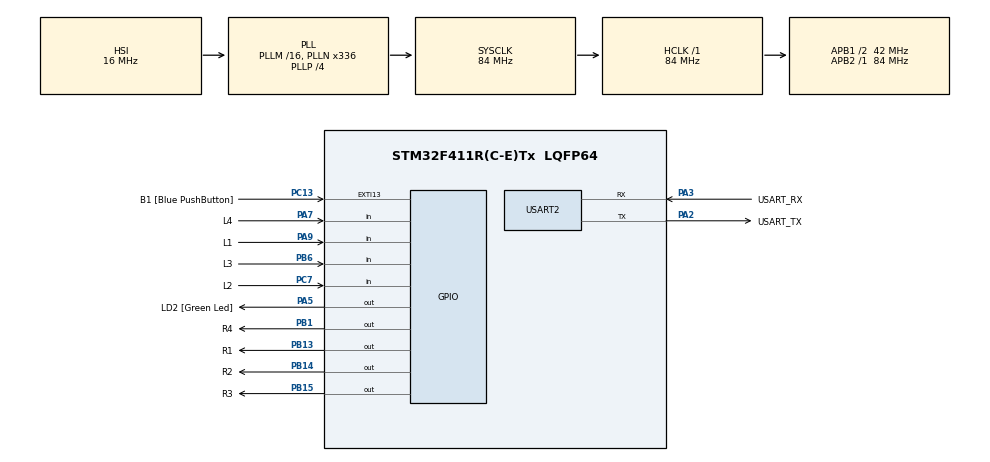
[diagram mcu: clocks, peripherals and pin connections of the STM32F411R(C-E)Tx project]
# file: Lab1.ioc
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Mcu.Family=STM32F4
Mcu.Name=STM32F411R(C-E)Tx
Mcu.Package=LQFP64
NVIC.PriorityGroup=NVIC_PRIORITYGROUP_0
PA13.GPIO_Label=TMS
PA13.Mode=Serial_Wire
PA13.Signal=SYS_JTMS-SWDIO
PA14.GPIO_Label=TCK
PA14.Mode=Serial_Wire
PA14.Signal=SYS_JTCK-SWCLK
PA2.GPIO_Label=USART_TX
PA2.Mode=Asynchronous
PA2.Signal=USART2_TX
PA3.GPIO_Label=USART_RX
PA3.Mode=Asynchronous
PA3.Signal=USART2_RX
PA5.GPIO_Label=LD2 [Green Led]
PA5.Signal=GPIO_Output
PA7.GPIO_Label=L4
PA7.GPIO_PuPd=GPIO_PULLUP
PA7.Signal=GPIO_Input
PA9.GPIO_Label=L1
PA9.GPIO_PuPd=GPIO_PULLUP
PA9.Signal=GPIO_Input
PB1.GPIO_Label=R4
PB1.GPIO_ModeDefaultOutputPP=GPIO_MODE_OUTPUT_OD
PB1.GPIO_PuPd=GPIO_NOPULL
PB1.Signal=GPIO_Output
PB13.GPIO_Label=R1
PB13.GPIO_ModeDefaultOutputPP=GPIO_MODE_OUTPUT_OD
PB13.GPIO_PuPd=GPIO_NOPULL
PB13.Signal=GPIO_Output
PB14.GPIO_Label=R2
PB14.GPIO_ModeDefaultOutputPP=GPIO_MODE_OUTPUT_OD
PB14.GPIO_PuPd=GPIO_NOPULL
PB14.Signal=GPIO_Output
PB15.GPIO_Label=R3
PB15.GPIO_ModeDefaultOutputPP=GPIO_MODE_OUTPUT_OD
PB15.GPIO_PuPd=GPIO_NOPULL
PB15.Signal=GPIO_Output
PB3.GPIO_Label=SWO
PB3.Signal=SYS_JTDO-SWO
PB6.GPIO_Label=L3
PB6.GPIO_PuPd=GPIO_PULLUP
PB6.Signal=GPIO_Input
PC13-ANTI_TAMP.GPIO_Label=B1 [Blue PushButton]
PC13-ANTI_TAMP.GPIO_ModeDefaultEXTI=GPIO_MODE_IT_FALLING
PC13-ANTI_TAMP.Signal=GPXTI13
PC14-OSC32_IN.Mode=LSE-External-Oscillator
PC14-OSC32_IN.Signal=RCC_OSC32_IN
PC15-OSC32_OUT.Mode=LSE-External-Oscillator
PC15-OSC32_OUT.Signal=RCC_OSC32_OUT
PC7.GPIO_Label=L2
PC7.GPIO_PuPd=GPIO_PULLUP
PC7.Signal=GPIO_Input
PH0\ -\ OSC_IN.Mode=HSE-External-Clock-Source
PH0\ -\ OSC_IN.Signal=RCC_OSC_IN
PH1\ -\ OSC_OUT.Mode=HSE-External-Clock-Source
PH1\ -\ OSC_OUT.Signal=RCC_OSC_OUT
ProjectManager.HeapSize=0x200
ProjectManager.StackSize=0x400
ProjectManager.TargetToolchain=STM32CubeIDE
RCC.48MHZClocksFreq_Value=84000000
RCC.AHBFreq_Value=84000000
RCC.APB1CLKDivider=RCC_HCLK_DIV2
RCC.APB1Freq_Value=42000000
RCC.APB1TimFreq_Value=84000000
RCC.APB2Freq_Value=84000000
RCC.APB2TimFreq_Value=84000000
RCC.CortexFreq_Value=84000000
RCC.FLatency-AdvancedSettings=FLASH_LATENCY_2
RCC.HCLKFreq_Value=84000000
RCC.HSE_VALUE=8000000
RCC.HSI_VALUE=16000000
RCC.PLLN=336
RCC.PLLP=RCC_PLLP_DIV4
RCC.SYSCLKFreq_VALUE=84000000
RCC.SYSCLKSource=RCC_SYSCLKSOURCE_PLLCLK
RCC.VCOOutputFreq_Value=336000000
USART2.VirtualMode=VM_ASYNC
board=NUCLEO-F411RE

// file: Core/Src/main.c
/* USER CODE BEGIN Header */
/**
  ******************************************************************************
  * @file           : main.c
  * @brief          : Main program body
  ******************************************************************************
  * @attention
  *
  * Copyright (c) 2023 STMicroelectronics.
  * All rights reserved.
  *
  * This software is licensed under terms that can be found in the LICENSE file
  * in the root directory of this software component.
  * If no LICENSE file comes with this software, it is provided AS-IS.
  *
  ******************************************************************************
  */
/* USER CODE END Header */
#include "main.h"

UART_HandleTypeDef huart2;

/* USER CODE BEGIN PV */
//button matrix structure
struct _PortPin{
	GPIO_TypeDef* PORT;
	uint16_t PIN;
};
struct _GPIOState{
	GPIO_PinState CurrState;
	GPIO_PinState LastState;
};
struct _PadElement{
	uint16_t PadValue;
	uint8_t PadLabel;
};
struct _ID{
	uint8_t IDNum;
};

// declare variable
struct _PortPin R[4] = {
	{GPIOB, GPIO_PIN_13},
	{GPIOB, GPIO_PIN_14},
	{GPIOB, GPIO_PIN_15},
	{GPIOB, GPIO_PIN_1}
};
struct _PortPin L[4] = {
	{GPIOA, GPIO_PIN_9},
	{GPIOC, GPIO_PIN_7},
	{GPIOB, GPIO_PIN_6},
	{GPIOA, GPIO_PIN_7}
};
struct _GPIOState Button1;

struct _PadElement Pad1[13] = {
	// 0-9
	{8, 0},
	{4, 1},
	{64, 2},
	{1024, 3},
	{2, 4},
	{32, 5},
	{512, 6},
	{1, 7},
	{16, 8},
	{256, 9},
	// OK (A: 10 or 0xA)
	{32768, 10},
	// Backspace (B: 11 or 0xB)
	{8192, 11},
	// Clear (C: 12 or 0xC)
	{4096, 12}
};
struct _ID InputID[11] = {
		{99},
		{99},
		{99},
		{99},
		{99},
		{99},
		{99},
		{99},
		{99},
		{99},
		{99}
};
struct _ID KeyID[11] = {
		{6},
		{4},
		{3},
		{4},
		{0},
		{5},
		{0},
		{0},
		{0},
		{1},
		{9}
};

uint16_t ButtonMatrix;
uint16_t BTNState;
int Digit;
GPIO_PinState LEDFlag;

/* USER CODE END PV */

void SystemClock_Config(void);
static void MX_GPIO_Init(void);
static void MX_USART2_UART_Init(void);
/* USER CODE BEGIN PFP */
void ReadMatrixButton_SingleRow();
/* USER CODE END PFP */

int main(void)
{

  /* MCU Configuration--------------------------------------------------------*/

  /* Reset of all peripherals, Initializes the Flash interface and the Systick. */
  HAL_Init();

  /* Configure the system clock */
  SystemClock_Config();

  /* Initialize all configured peripherals */
  MX_GPIO_Init();
  MX_USART2_UART_Init();

  /* Infinite loop */
  while (1)
  {

    /* USER CODE BEGIN 3 */
	  static uint32_t timestamp=0;
	  if(HAL_GetTick()>= timestamp){
		  timestamp =HAL_GetTick() +10;
		  ReadMatrixButton_SingleRow();
		  // begin manage push state
		  if (ButtonMatrix > 0){
			  Button1.CurrState = 1;
		  }
		  else{
			  Button1.CurrState = 0;
		  }
		  // end manage push state

		  // begin manage button input
		  if (Button1.LastState == 0 && Button1.CurrState == 1){
			  // loop check match element in struct
			  register int elem;
			  for (elem = 0; elem < 14; elem++){
				  if (ButtonMatrix == Pad1[elem].PadValue){
					  // Numeric (0-9)
					  if (elem < 10 && Digit < 11){
						  BTNState = elem;
						  Digit++;
						  // Insert number into sequence based by digit
						  InputID[Digit-1].IDNum = elem;

					  }
					  // OK (A)
					  else if (elem == 10){
						  BTNState = 10;
						  // check ID
						  register int id;
						  for (id = 0; id < 11; id++){
							  if(InputID[id].IDNum != KeyID[id].IDNum){LEDFlag = 0;}
							  else{LEDFlag = 1;}
						  }
					  }
					  // Backspace (B)
					  else if (elem == 11 && Digit > 0){
						  Digit--;
						  InputID[Digit].IDNum = 99;
						  LEDFlag = 0;
					  }
					  // Clear (C)
					  else if (elem == 12){
						  BTNState = 0;
						  Digit = 0;
						  register int clr_id;
						  for (clr_id = 0; clr_id < 11; clr_id++){
							  InputID[clr_id].IDNum = 99;
						  }
						  LEDFlag = 0;
					  }
				  }

			  }
		  }
		  // end manage button input
		  Button1.LastState = Button1.CurrState;

		  HAL_GPIO_WritePin(GPIOA, GPIO_PIN_5, LEDFlag);
	  }
  }
  /* USER CODE END 3 */
}

void SystemClock_Config(void)
{
  RCC_OscInitTypeDef RCC_OscInitStruct = {0};
  RCC_ClkInitTypeDef RCC_ClkInitStruct = {0};

  /** Configure the main internal regulator output voltage
  */
  __HAL_RCC_PWR_CLK_ENABLE();
  __HAL_PWR_VOLTAGESCALING_CONFIG(PWR_REGULATOR_VOLTAGE_SCALE1);

  /** Initializes the RCC Oscillators according to the specified parameters
  * in the RCC_OscInitTypeDef structure.
  */
  RCC_OscInitStruct.OscillatorType = RCC_OSCILLATORTYPE_HSI;
  RCC_OscInitStruct.HSIState = RCC_HSI_ON;
  RCC_OscInitStruct.HSICalibrationValue = RCC_HSICALIBRATION_DEFAULT;
  RCC_OscInitStruct.PLL.PLLState = RCC_PLL_ON;
  RCC_OscInitStruct.PLL.PLLSource = RCC_PLLSOURCE_HSI;
  RCC_OscInitStruct.PLL.PLLM = 16;
  RCC_OscInitStruct.PLL.PLLN = 336;
  RCC_OscInitStruct.PLL.PLLP = RCC_PLLP_DIV4;
  RCC_OscInitStruct.PLL.PLLQ = 4;
  if (HAL_RCC_OscConfig(&RCC_OscInitStruct) != HAL_OK)
  {
    Error_Handler();
  }

  /** Initializes the CPU, AHB and APB buses clocks
  */
  RCC_ClkInitStruct.ClockType = RCC_CLOCKTYPE_HCLK|RCC_CLOCKTYPE_SYSCLK
                              |RCC_CLOCKTYPE_PCLK1|RCC_CLOCKTYPE_PCLK2;
  RCC_ClkInitStruct.SYSCLKSource = RCC_SYSCLKSOURCE_PLLCLK;
  RCC_ClkInitStruct.AHBCLKDivider = RCC_SYSCLK_DIV1;
  RCC_ClkInitStruct.APB1CLKDivider = RCC_HCLK_DIV2;
  RCC_ClkInitStruct.APB2CLKDivider = RCC_HCLK_DIV1;

  if (HAL_RCC_ClockConfig(&RCC_ClkInitStruct, FLASH_LATENCY_2) != HAL_OK)
  {
    Error_Handler();
  }
}

static void MX_USART2_UART_Init(void)
{

  huart2.Instance = USART2;
  huart2.Init.BaudRate = 115200;
  huart2.Init.WordLength = UART_WORDLENGTH_8B;
  huart2.Init.StopBits = UART_STOPBITS_1;
  huart2.Init.Parity = UART_PARITY_NONE;
  huart2.Init.Mode = UART_MODE_TX_RX;
  huart2.Init.HwFlowCtl = UART_HWCONTROL_NONE;
  huart2.Init.OverSampling = UART_OVERSAMPLING_16;
  if (HAL_UART_Init(&huart2) != HAL_OK)
  {
    Error_Handler();
  }

}

static void MX_GPIO_Init(void)
{
  GPIO_InitTypeDef GPIO_InitStruct = {0};

  /* GPIO Ports Clock Enable */
  __HAL_RCC_GPIOC_CLK_ENABLE();
  __HAL_RCC_GPIOH_CLK_ENABLE();
  __HAL_RCC_GPIOA_CLK_ENABLE();
  __HAL_RCC_GPIOB_CLK_ENABLE();

  /*Configure GPIO pin Output Level */
  HAL_GPIO_WritePin(LD2_GPIO_Port, LD2_Pin, GPIO_PIN_RESET);

  /*Configure GPIO pin Output Level */
  HAL_GPIO_WritePin(GPIOB, R4_Pin|R1_Pin|R2_Pin|R3_Pin, GPIO_PIN_RESET);

  /*Configure GPIO pin : B1_Pin */
  GPIO_InitStruct.Pin = B1_Pin;
  GPIO_InitStruct.Mode = GPIO_MODE_IT_FALLING;
  GPIO_InitStruct.Pull = GPIO_NOPULL;
  HAL_GPIO_Init(B1_GPIO_Port, &GPIO_InitStruct);

  /*Configure GPIO pin : LD2_Pin */
  GPIO_InitStruct.Pin = LD2_Pin;
  GPIO_InitStruct.Mode = GPIO_MODE_OUTPUT_PP;
  GPIO_InitStruct.Pull = GPIO_NOPULL;
  GPIO_InitStruct.Speed = GPIO_SPEED_FREQ_LOW;
  HAL_GPIO_Init(LD2_GPIO_Port, &GPIO_InitStruct);

  /*Configure GPIO pins : L4_Pin L1_Pin */
  GPIO_InitStruct.Pin = L4_Pin|L1_Pin;
  GPIO_InitStruct.Mode = GPIO_MODE_INPUT;
  GPIO_InitStruct.Pull = GPIO_PULLUP;
  HAL_GPIO_Init(GPIOA, &GPIO_InitStruct);

  /*Configure GPIO pins : R4_Pin R1_Pin R2_Pin R3_Pin */
  GPIO_InitStruct.Pin = R4_Pin|R1_Pin|R2_Pin|R3_Pin;
  GPIO_InitStruct.Mode = GPIO_MODE_OUTPUT_OD;
  GPIO_InitStruct.Pull = GPIO_NOPULL;
  GPIO_InitStruct.Speed = GPIO_SPEED_FREQ_LOW;
  HAL_GPIO_Init(GPIOB, &GPIO_InitStruct);

  /*Configure GPIO pin : L2_Pin */
  GPIO_InitStruct.Pin = L2_Pin;
  GPIO_InitStruct.Mode = GPIO_MODE_INPUT;
  GPIO_InitStruct.Pull = GPIO_PULLUP;
  HAL_GPIO_Init(L2_GPIO_Port, &GPIO_InitStruct);

  /*Configure GPIO pin : L3_Pin */
  GPIO_InitStruct.Pin = L3_Pin;
  GPIO_InitStruct.Mode = GPIO_MODE_INPUT;
  GPIO_InitStruct.Pull = GPIO_PULLUP;
  HAL_GPIO_Init(L3_GPIO_Port, &GPIO_InitStruct);

}

/* USER CODE BEGIN 4 */

void ReadMatrixButton_SingleRow(){
    static uint8_t X = 0;
    register int i;
    for (i = 0; i < 4; i++) {
        if (HAL_GPIO_ReadPin(L[i].PORT, L[i].PIN)) {
            ButtonMatrix &= ~(1 << (X * 4 + i));
        } else {
            ButtonMatrix |= 1 << (X * 4 + i);
        }
    }
    HAL_GPIO_WritePin(R[X].PORT, R[X].PIN, 1);
    HAL_GPIO_WritePin(R[(X + 1) % 4].PORT, R[(X + 1) % 4].PIN, 0);
    X++;
    X %= 4;
}

/* USER CODE END 4 */

void Error_Handler(void)
{
  __disable_irq();
  while (1)
  {
  }
}
